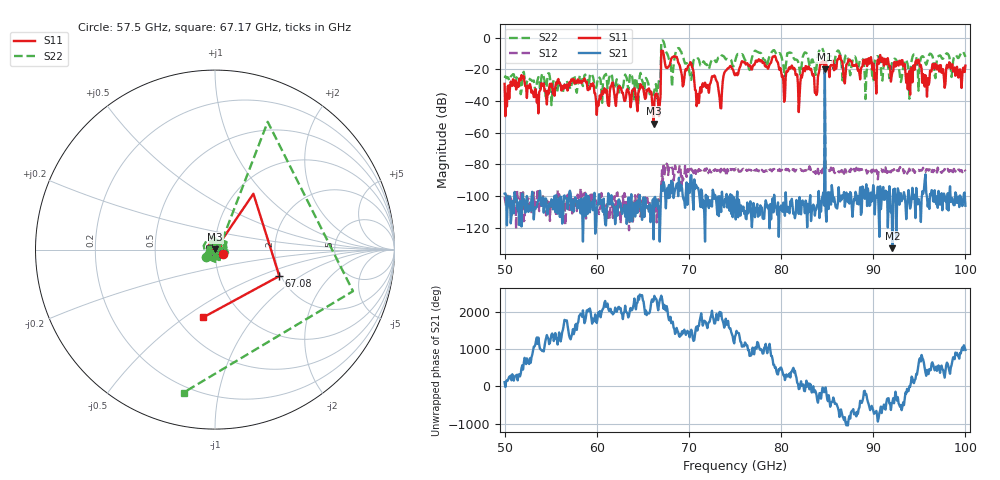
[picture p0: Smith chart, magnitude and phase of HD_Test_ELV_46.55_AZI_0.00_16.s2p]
! 11/25/2026 9:16:17 AM
! C:\ANRITSUVNA\TEMP\TEMP.S2P
! CHANNEL.1
! TR.MEASUREMENT
! RAW.DATA
# HZ S RI R 50.0
! FREQ.HZ  S11RE  S11IM  S21RE  S21IM  S12RE  S12IM  S22RE  S22IM
!; PortSelection: Port_12
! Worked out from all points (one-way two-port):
!   601 points, 50 GHz to 100 GHz, reference 50 ohm
!   highest |S21| = -20.06 dB at 84.75 GHz (marker M1); lowest = -133.0 dB at 92.08 GHz (marker M2)
!   lowest |S11| = -54.3 dB at 66.17 GHz (marker M3), VSWR 1.00, Z = 50.1 + j0.153 ohm
!   |S11| at or under -10 dB: start of sweep to 67 GHz; 67.24 GHz to end of sweep
!   |S22| runs from -42.6 to -1.8 dB; largest |S21 - S12| = 0.087
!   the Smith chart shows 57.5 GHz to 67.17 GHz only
!   S11 on the Smith chart (normalised r, x): 57.5 GHz: 1.09, -0.05; 67.08 GHz: 1.96, -0.68; 67.17 GHz: 0.67, -0.59
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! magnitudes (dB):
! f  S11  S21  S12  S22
! 50 GHz  -29.2  -98.6  -100.6  -25.3
! 57.5 GHz  -26.3  -109.9  -100.3  -23.7
! 58.42 GHz  -27.2  -108.3  -106.6  -29.0
! 60.17 GHz  -43.1  -104.7  -109.6  -24.8
! 61.67 GHz  -28.7  -105.6  -103.8  -24.5
! 66.17 GHz  -54.3  -127.4  -100.9  -35.4
! 66.67 GHz  -41.9  -108.0  -102.1  -32.1
! 67.08 GHz  -8.2  -93.6  -83.7  -1.9
! 67.17 GHz  -8.3  -96.8  -90.8  -1.8
! 70.17 GHz  -15.5  -88.5  -84.8  -25.7
! 70.92 GHz  -40.7  -94.9  -84.2  -13.3
! 75 GHz  -23.7  -106.1  -83.5  -15.0
! 79.25 GHz  -11.8  -99.3  -83.0  -7.9
! 80.25 GHz  -27.6  -104.2  -84.0  -17.7
! 83.42 GHz  -23.8  -106.4  -83.3  -13.8
! 84.75 GHz  -23.0  -20.1  -32.9  -11.4
! 91.67 GHz  -16.7  -103.7  -83.3  -20.5
! 92.08 GHz  -21.7  -133.0  -83.8  -14.9
! 93.75 GHz  -32.6  -101.3  -85.2  -17.3
! 94.83 GHz  -15.0  -105.4  -83.8  -20.3
! 95.83 GHz  -37.3  -100.9  -83.2  -15.9
! 100 GHz  -17.7  -106.2  -84.5  -12.2
